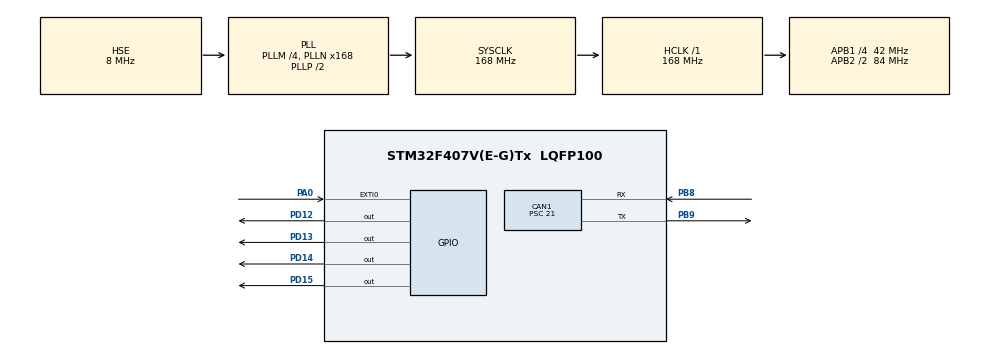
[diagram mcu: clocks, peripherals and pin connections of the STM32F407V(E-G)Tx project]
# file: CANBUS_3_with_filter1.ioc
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CAN1.BS1=CAN_BS1_10TQ
CAN1.BS2=CAN_BS2_5TQ
CAN1.CalculateBaudRate=125000
CAN1.CalculateTimeBit=8000
CAN1.CalculateTimeQuantum=500.0
CAN1.Prescaler=21
Mcu.Family=STM32F4
Mcu.Name=STM32F407V(E-G)Tx
Mcu.Package=LQFP100
NVIC.CAN1_RX0_IRQn=true\:0\:1\:false\:false\:true\:true\:true\:true
NVIC.EXTI0_IRQn=true\:0\:0\:false\:false\:true\:true\:true\:true
NVIC.PriorityGroup=NVIC_PRIORITYGROUP_0
PA0-WKUP.Signal=GPXTI0
PB8.Mode=CAN_Activate
PB8.Signal=CAN1_RX
PB9.Mode=CAN_Activate
PB9.Signal=CAN1_TX
PD12.Signal=GPIO_Output
PD13.Signal=GPIO_Output
PD14.Signal=GPIO_Output
PD15.Signal=GPIO_Output
PH0-OSC_IN.Mode=HSE-External-Oscillator
PH0-OSC_IN.Signal=RCC_OSC_IN
PH1-OSC_OUT.Mode=HSE-External-Oscillator
PH1-OSC_OUT.Signal=RCC_OSC_OUT
ProjectManager.HeapSize=0x200
ProjectManager.StackSize=0x400
ProjectManager.TargetToolchain=STM32CubeIDE
RCC.48MHZClocksFreq_Value=84000000
RCC.AHBFreq_Value=168000000
RCC.APB1CLKDivider=RCC_HCLK_DIV4
RCC.APB1Freq_Value=42000000
RCC.APB1TimFreq_Value=84000000
RCC.APB2CLKDivider=RCC_HCLK_DIV2
RCC.APB2Freq_Value=84000000
RCC.APB2TimFreq_Value=168000000
RCC.CortexFreq_Value=168000000
RCC.HCLKFreq_Value=168000000
RCC.HSE_VALUE=8000000
RCC.HSI_VALUE=16000000
RCC.LSE_VALUE=32768
RCC.PLLM=4
RCC.PLLN=168
RCC.PLLSourceVirtual=RCC_PLLSOURCE_HSE
RCC.SYSCLKFreq_VALUE=168000000
RCC.SYSCLKSource=RCC_SYSCLKSOURCE_PLLCLK
RCC.VCOOutputFreq_Value=336000000
board=custom

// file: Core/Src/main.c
/* USER CODE BEGIN Header */
/**
  ******************************************************************************
  * @file           : main.c
  * @brief          : Main program body
  ******************************************************************************
  * @attention
  *
  * Copyright (c) 2023 STMicroelectronics.
  * All rights reserved.
  *
  * This software is licensed under terms that can be found in the LICENSE file
  * in the root directory of this software component.
  * If no LICENSE file comes with this software, it is provided AS-IS.
  *
  ******************************************************************************
  */
/* USER CODE END Header */
#include "main.h"

CAN_HandleTypeDef hcan1;

void SystemClock_Config(void);
static void MX_GPIO_Init(void);
static void MX_CAN1_Init(void);

int main(void)
{

  /* MCU Configuration--------------------------------------------------------*/

  /* Reset of all peripherals, Initializes the Flash interface and the Systick. */
  HAL_Init();

  /* Configure the system clock */
  SystemClock_Config();

  /* Initialize all configured peripherals */
  MX_GPIO_Init();
  MX_CAN1_Init();
  /* USER CODE BEGIN 2 */

  //start can communication
  HAL_CAN_Start(&hcan1);
  //enable interrupts
  HAL_CAN_ActivateNotification(&hcan1, CAN_IT_RX_FIFO0_MSG_PENDING);

  //set transmit parameters
  pTxHeader.DLC=1;
  pTxHeader.IDE=CAN_ID_STD;
  pTxHeader.RTR=CAN_RTR_DATA;
  pTxHeader.StdId=0X0121;  //2.boardta 0x0150 ile 0x015f arasındaki mesajları arayacagiz
//set filter parameters
sFilterConfig.FilterActivation=ENABLE;
sFilterConfig.FilterBank=0;
sFilterConfig.FilterFIFOAssignment=CAN_FILTER_FIFO0;
sFilterConfig.FilterIdHigh=0x0000;
sFilterConfig.FilterIdLow=0x0000;
sFilterConfig.FilterMaskIdHigh=0x0000;
sFilterConfig.FilterMaskIdLow=0x0000;
sFilterConfig.FilterMode=CAN_FILTERMODE_IDMASK;
sFilterConfig.FilterScale=CAN_FILTERSCALE_16BIT;

HAL_CAN_ConfigFilter(&hcan1, &sFilterConfig);
  /* USER CODE END 2 */

  /* Infinite loop */
  while (1)
  {

  }
}

void SystemClock_Config(void)
{
  RCC_OscInitTypeDef RCC_OscInitStruct = {0};
  RCC_ClkInitTypeDef RCC_ClkInitStruct = {0};

  /** Configure the main internal regulator output voltage
  */
  __HAL_RCC_PWR_CLK_ENABLE();
  __HAL_PWR_VOLTAGESCALING_CONFIG(PWR_REGULATOR_VOLTAGE_SCALE1);

  /** Initializes the RCC Oscillators according to the specified parameters
  * in the RCC_OscInitTypeDef structure.
  */
  RCC_OscInitStruct.OscillatorType = RCC_OSCILLATORTYPE_HSE;
  RCC_OscInitStruct.HSEState = RCC_HSE_ON;
  RCC_OscInitStruct.PLL.PLLState = RCC_PLL_ON;
  RCC_OscInitStruct.PLL.PLLSource = RCC_PLLSOURCE_HSE;
  RCC_OscInitStruct.PLL.PLLM = 4;
  RCC_OscInitStruct.PLL.PLLN = 168;
  RCC_OscInitStruct.PLL.PLLP = RCC_PLLP_DIV2;
  RCC_OscInitStruct.PLL.PLLQ = 4;
  if (HAL_RCC_OscConfig(&RCC_OscInitStruct) != HAL_OK)
  {
    Error_Handler();
  }

  /** Initializes the CPU, AHB and APB buses clocks
  */
  RCC_ClkInitStruct.ClockType = RCC_CLOCKTYPE_HCLK|RCC_CLOCKTYPE_SYSCLK
                              |RCC_CLOCKTYPE_PCLK1|RCC_CLOCKTYPE_PCLK2;
  RCC_ClkInitStruct.SYSCLKSource = RCC_SYSCLKSOURCE_PLLCLK;
  RCC_ClkInitStruct.AHBCLKDivider = RCC_SYSCLK_DIV1;
  RCC_ClkInitStruct.APB1CLKDivider = RCC_HCLK_DIV4;
  RCC_ClkInitStruct.APB2CLKDivider = RCC_HCLK_DIV2;

  if (HAL_RCC_ClockConfig(&RCC_ClkInitStruct, FLASH_LATENCY_5) != HAL_OK)
  {
    Error_Handler();
  }
}

static void MX_CAN1_Init(void)
{

  hcan1.Instance = CAN1;
  hcan1.Init.Prescaler = 21;
  hcan1.Init.Mode = CAN_MODE_NORMAL;
  hcan1.Init.SyncJumpWidth = CAN_SJW_1TQ;
  hcan1.Init.TimeSeg1 = CAN_BS1_10TQ;
  hcan1.Init.TimeSeg2 = CAN_BS2_5TQ;
  hcan1.Init.TimeTriggeredMode = DISABLE;
  hcan1.Init.AutoBusOff = DISABLE;
  hcan1.Init.AutoWakeUp = DISABLE;
  hcan1.Init.AutoRetransmission = DISABLE;
  hcan1.Init.ReceiveFifoLocked = DISABLE;
  hcan1.Init.TransmitFifoPriority = DISABLE;
  if (HAL_CAN_Init(&hcan1) != HAL_OK)
  {
    Error_Handler();
  }

}

static void MX_GPIO_Init(void)
{
  GPIO_InitTypeDef GPIO_InitStruct = {0};

  /* GPIO Ports Clock Enable */
  __HAL_RCC_GPIOH_CLK_ENABLE();
  __HAL_RCC_GPIOA_CLK_ENABLE();
  __HAL_RCC_GPIOD_CLK_ENABLE();
  __HAL_RCC_GPIOB_CLK_ENABLE();

  /*Configure GPIO pin Output Level */
  HAL_GPIO_WritePin(GPIOD, GPIO_PIN_12|GPIO_PIN_13|GPIO_PIN_14|GPIO_PIN_15, GPIO_PIN_RESET);

  /*Configure GPIO pin : PA0 */
  GPIO_InitStruct.Pin = GPIO_PIN_0;
  GPIO_InitStruct.Mode = GPIO_MODE_IT_RISING;
  GPIO_InitStruct.Pull = GPIO_NOPULL;
  HAL_GPIO_Init(GPIOA, &GPIO_InitStruct);

  /*Configure GPIO pins : PD12 PD13 PD14 PD15 */
  GPIO_InitStruct.Pin = GPIO_PIN_12|GPIO_PIN_13|GPIO_PIN_14|GPIO_PIN_15;
  GPIO_InitStruct.Mode = GPIO_MODE_OUTPUT_PP;
  GPIO_InitStruct.Pull = GPIO_NOPULL;
  GPIO_InitStruct.Speed = GPIO_SPEED_FREQ_LOW;
  HAL_GPIO_Init(GPIOD, &GPIO_InitStruct);

  /* EXTI interrupt init*/
  HAL_NVIC_SetPriority(EXTI0_IRQn, 0, 0);
  HAL_NVIC_EnableIRQ(EXTI0_IRQn);

}

void Error_Handler(void)
{
  __disable_irq();
  while (1)
  {
  }
}
